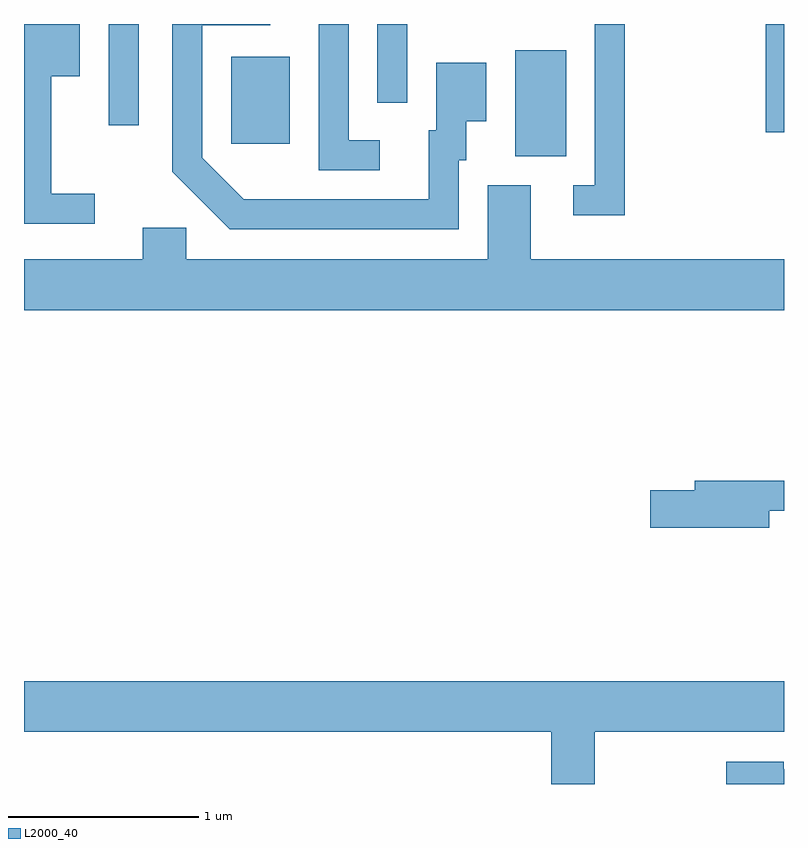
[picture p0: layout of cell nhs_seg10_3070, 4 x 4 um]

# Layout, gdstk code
import gdstk
lib = gdstk.Library(unit=1e-6, precision=1e-09)
def R(c, l, rs):  # rectangles x0, y0, x1, y1
    for r in rs: c.add(gdstk.rectangle(r[:2], r[2:], *l))
def P(c, l, *ps):  # polygons
    for p in ps: c.add(gdstk.Polygon(p, *l))
L2000_40 = (2000, 40)

nhs_seg10_3070 = lib.new_cell('nhs_seg10_3070')
R(nhs_seg10_3070, L2000_40, [(278.196,2125.826,278.464,2126.384), (276.701,2125.891,277.009,2126.349), (279.516,2125.951,279.611,2126.522), (276.056,2125.988,276.214,2126.522), (277.471,2126.108,277.629,2126.522)])
P(nhs_seg10_3070, L2000_40, [(275.983,2125.629),(275.754,2125.629),(275.754,2126.246),(275.904,2126.246),(275.904,2126.522),(275.611,2126.522),(275.611,2125.471),(275.983,2125.471)],
  [(277.899,2125.806),(277.939,2125.806),(277.939,2126.011),(278.044,2126.011),(278.044,2126.319),(277.781,2126.319),(277.781,2125.964),(277.741,2125.964),(277.741,2125.599),(276.767,2125.599),(276.549,2125.817),(276.549,2126.516),(276.908,2126.516),(276.908,2126.522),(276.391,2126.522),(276.391,2125.744),(276.694,2125.441),(277.899,2125.441)],
  [(278.774,2126.522),(278.616,2126.522),(278.616,2125.674),(278.503,2125.674),(278.503,2125.516),(278.774,2125.516)],
  [(277.483,2125.909),(277.319,2125.909),(277.319,2126.522),(277.161,2126.522),(277.161,2125.751),(277.483,2125.751)],
  [(279.611,2125.284),(278.279,2125.284),(278.279,2125.674),(278.051,2125.674),(278.051,2125.284),(276.464,2125.284),(276.464,2125.449),(276.236,2125.449),(276.236,2125.284),(275.611,2125.284),(275.611,2125.016),(279.611,2125.016)],
  [(279.534,2123.961),(279.611,2123.961),(279.611,2124.119),(279.141,2124.119),(279.141,2124.069),(278.906,2124.069),(278.906,2123.871),(279.534,2123.871)],
  [(278.614,2122.796),(279.611,2122.796),(279.611,2123.064),(275.611,2123.064),(275.611,2122.796),(278.386,2122.796),(278.386,2122.522),(278.614,2122.522)],
  [(279.611,2122.599),(279.609,2122.599),(279.609,2122.639),(279.306,2122.639),(279.306,2122.522),(279.611,2122.522)])

lib.write_gds('nhs_seg10_3070.gds')
